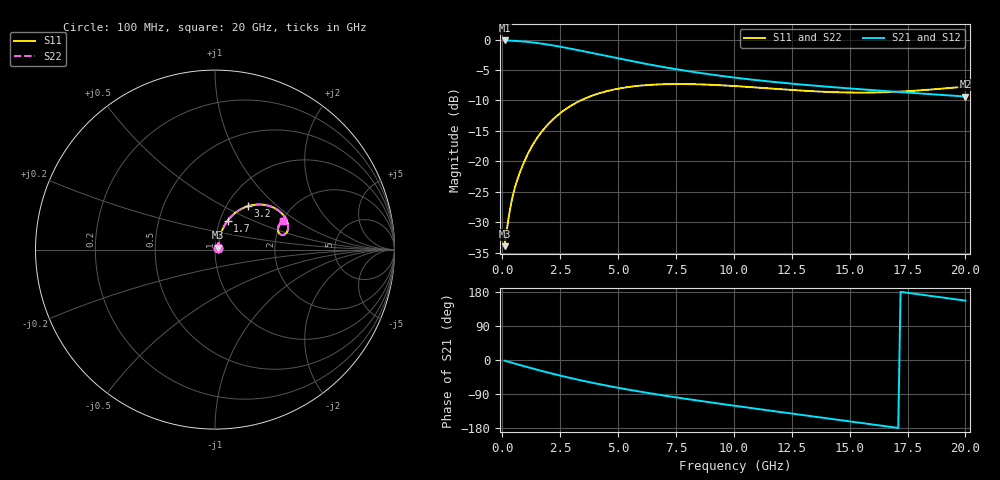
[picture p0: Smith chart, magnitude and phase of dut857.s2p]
! Touchstone file exported from HFSS 2024.1.0
!  File:  C:/UserFiles/LocalFiles/RDL_TSV_Batchsim/temp_RDL_TSV_857_1779923963.aedt
!  Generated:  07:35:10 AM May 28, 2026
!  Design:  RDL_TSV
!  Project:  temp_RDL_TSV_857_1779923963
!  Setup:  Setup1
!  Solution:  Sweep
! Variables:
!  dtsv = 7.12um
!  hbump = 3um
!  htsv = 56.58um
!  ldown = 194.71um
!  lrdl = 646.5um
!  p = 40
!  p1 = 59.23um
!  rhole = 10um
!  subl = 3170.13um
!  t = 450um
!  tdown = 4.14um
!  trdl = 4.86um
!  viad = 10um
!  wdown = 16.58um
!  wrdl = 14.38um
!  xbump = 18um
# GHz S MA R 50.000000
! Terminal data exported
! Port[1] = TM1_1_T1
! Port[2] = TM1_4_T1
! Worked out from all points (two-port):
!   200 points, 100 MHz to 20 GHz, reference 50 ohm
!   highest |S21| = -0.15 dB at 100 MHz (marker M1); lowest = -9.4 dB at 20 GHz (marker M2)
!   |S21| within 3 dB of the highest: start of sweep to 5.068 GHz
!   lowest |S11| = -33.9 dB at 100 MHz (marker M3), VSWR 1.04, Z = 51.7 + j1.1 ohm
!   |S11| at or under -10 dB: start of sweep to 3.387 GHz
!   |S22| runs from -33.9 to -7.3 dB; largest |S21 - S12| = 3e-14
!   S11 on the Smith chart (normalised r, x): 100 MHz: 1.03, +0.02; 1.7 GHz: 1.09, +0.36; 3.2 GHz: 1.25, +0.67; 20 GHz: 2.02, +0.78
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0.1  0.02014 31.9  0.9829 -1.8  0.9829 -1.8  0.02014 31.9
! Gamma 0 0 0 0
! Port Impedance 50 0 50 0
0.3  0.03713 58.6  0.9803 -5.3  0.9803 -5.3  0.03712 58.6
0.4  0.04699 63.0  0.9785 -7.1  0.9785 -7.1  0.04697 63.0
0.6  0.06623 66.7  0.9739 -10.5  0.9739 -10.5  0.06622 66.8
0.8  0.08493 68.7  0.9678 -14.0  0.9678 -14.0  0.08496 68.7
1.1  0.1147 69.6  0.9562 -19.0  0.9562 -19.0  0.1147 69.5
1.4  0.1451 68.5  0.9419 -24.0  0.9419 -24.0  0.1451 68.5
1.7  0.1749 66.5  0.9253 -28.9  0.9253 -28.9  0.1749 66.5
2.4  0.24 60.4  0.8803 -39.7  0.8803 -39.7  0.24 60.4
3.2  0.3034 52.8  0.8234 -51.1  0.8234 -51.1  0.3033 52.8
3.5  0.3236 50.0  0.8018 -55.1  0.8018 -55.1  0.3235 50.0
4.2  0.3628 43.7  0.7525 -64.0  0.7525 -64.0  0.3627 43.7
5.1  0.3982 36.5  0.6938 -74.4  0.6938 -74.4  0.398 36.5
5.9  0.4175 30.9  0.6473 -83.0  0.6473 -83.0  0.4173 30.9
6.8  0.4287 25.6  0.6018 -92.0  0.6018 -92.0  0.4284 25.6
8.3  0.4298 18.9  0.5402 -105.8  0.5402 -105.8  0.4296 18.9
10.1  0.4145 14.0  0.4854 -121.4  0.4854 -121.4  0.4142 14.0
11.7  0.3951 12.2  0.4492 -134.7  0.4492 -134.7  0.3948 12.2
13.4  0.3766 12.8  0.4195 -148.7  0.4195 -148.7  0.3764 12.8
15  0.3674 15.2  0.3968 -161.9  0.3968 -161.9  0.3672 15.2
16.7  0.3705 18.6  0.376 -176.0  0.376 -176.0  0.3704 18.6
20  0.4109 23.0  0.3405 156.7  0.3405 156.7  0.4108 23.0
